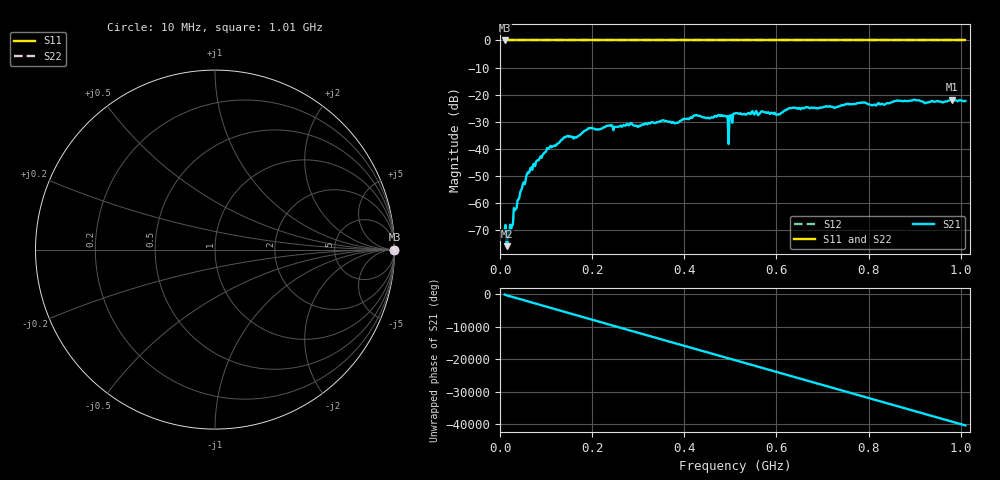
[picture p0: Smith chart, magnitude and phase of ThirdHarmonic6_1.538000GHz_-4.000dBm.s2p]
! 8/16/2025 6:13:42 PM
! C:\ANRITSUVNA\TEMP\TEMP.S2P
! CHANNEL.1
! TR.MEASUREMENT
! RAW.DATA
! RF.CORRECTION.OFF
! AVERAGING.OFF
! IF.BANDWIDTH: 5KHZ
! SWEEPTYPE:  FREQ.SWEEP(Linear)
! Reference Plane Port Info
! PORT:  PORT1  PORT2
! DISTANCE:  0  m  0  m
! TIME:  0  s  0  s
! PHASE.OFFSET:  0  deg.  0  deg.
! LOSS:  0  dB  0  dB
! REF.LOSS:  0  dB  0  dB
! REF.FREQ:  0  Hz  0  Hz
! Power Info
! POWER:  -20  dBm  -20  dBm
! EFF.POWER:  -20  dBm  -20  dBm
! SOURCE.ATTEN:  0  dB  0  dB
! TEST.ATTEN:  0  dB  0  dB
# GHZ S RI R 50.0
! FREQ.GHZ  S11RE  S11IM  S21RE  S21IM  S12RE  S12IM  S22RE  S22IM
!; PortSelection: Port_12
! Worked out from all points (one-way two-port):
!   501 points, 10 MHz to 1.01 GHz, reference 50 ohm
!   highest |S21| = -21.84 dB at 980 MHz (marker M1); lowest = -75.9 dB at 16 MHz (marker M2)
!   lowest |S11| = 0.0 dB at 10 MHz (marker M3)
!   |S11| at or under -10 dB: nowhere
!   |S22| runs from 0.0 to 0.0 dB; largest |S21 - S12| = 1.1
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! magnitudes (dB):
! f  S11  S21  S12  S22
! 10 MHz  0.0  -70.1  0.0  0.0
! 16 MHz  0.0  -75.9  0.0  0.0
! 24 MHz  0.0  -69.9  0.0  0.0
! 34 MHz  0.0  -62.1  0.0  0.0
! 48 MHz  0.0  -54.3  0.0  0.0
! 70 MHz  0.0  -47.7  0.0  0.0
! 106 MHz  0.0  -39.9  0.0  0.0
! 142 MHz  0.0  -35.7  0.0  0.0
! 178 MHz  0.0  -34.1  0.0  0.0
! 196 MHz  0.0  -32.4  0.0  0.0
! 344 MHz  0.0  -30.1  0.0  0.0
! 478 MHz  0.0  -27.9  0.0  0.0
! 490 MHz  0.0  -28.0  0.0  0.0
! 500 MHz  0.0  -27.7  0.0  0.0
! 502 MHz  0.0  -27.5  0.0  0.0
! 510 MHz  0.0  -27.0  0.0  0.0
! 604 MHz  0.0  -27.2  0.0  0.0
! 630 MHz  0.0  -24.9  0.0  0.0
! 678 MHz  0.0  -24.8  0.0  0.0
! 844 MHz  0.0  -23.2  0.0  0.0
! 980 MHz  0.0  -21.8  0.0  0.0
! 1.01 GHz  0.0  -22.3  0.0  0.0
